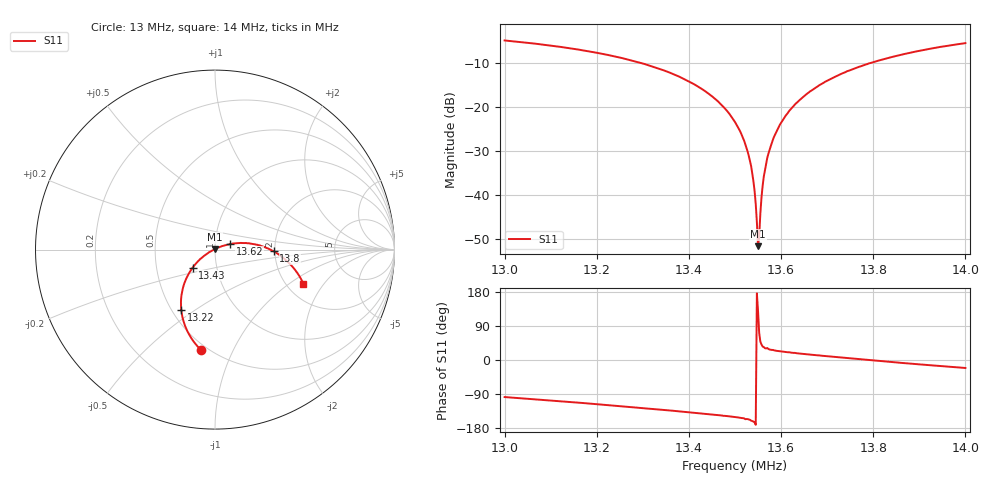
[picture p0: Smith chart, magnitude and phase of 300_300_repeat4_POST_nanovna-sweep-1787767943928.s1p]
! NanoVNA Web complex sweep
! Processing: original sample grid, no browser smoothing
# Hz S RI R 50
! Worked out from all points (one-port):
!   401 points, 13 MHz to 14 MHz, reference 50 ohm
!   lowest |S11| = -51.6 dB at 13.55 MHz (marker M1), VSWR 1.01, Z = 49.8 + j0.204 ohm
!   |S11| at or under -10 dB: 13.29 MHz to 13.8 MHz (501.7 kHz wide, 3.7 % of centre)
!   S11 on the Smith chart (normalised r, x): 13 MHz: 0.46, -0.76; 13.22 MHz: 0.56, -0.44; 13.43 MHz: 0.76, -0.16; 13.62 MHz: 1.18, +0.08; 13.8 MHz: 1.97, -0.04; 14 MHz: 2.46, -1.30
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1.3e7  -0.0764 -0.5612
1.3125e7  -0.1564 -0.4492
1.3225e7  -0.1875 -0.3384
1.325e7  -0.1896 -0.3087
1.3375e7  -0.159 -0.1588
1.34275e7  -0.1251 -0.1004
1.34675e7  -0.0909 -0.0612
1.35e7  -0.0585 -0.0332
1.35175e7  -0.0395 -0.0197
1.353e7  -0.0254 -0.0109
1.35375e7  -0.0164 -0.00561
1.35425e7  -0.0107 -0.00291
1.3545e7  -0.00783 -0.00124
1.35475e7  -0.00489 0.000354
1.355e7  -0.00165 0.00205
1.35525e7  0.00108 0.00321
1.3555e7  0.00408 0.00461
1.356e7  0.0104 0.0074
1.3565e7  0.0164 0.00987
1.3575e7  0.0288 0.0151
1.35925e7  0.0511 0.0226
1.36175e7  0.0841 0.0315
1.3625e7  0.0938 0.0323
1.368e7  0.1675 0.0364
1.375e7  0.2598 0.0193
1.3805e7  0.3272 -0.00996
1.3875e7  0.4008 -0.0634
1.4e7  0.4928 -0.19
